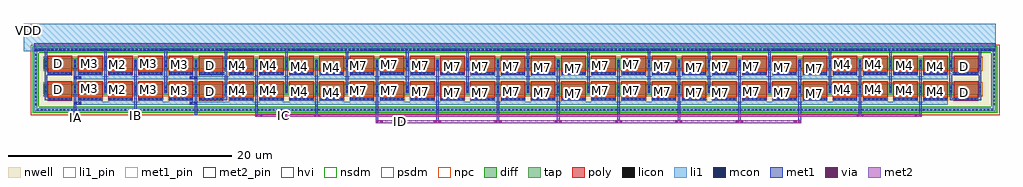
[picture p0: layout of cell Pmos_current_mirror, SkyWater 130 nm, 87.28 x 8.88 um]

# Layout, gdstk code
from math import pi, radians
import gdstk
lib = gdstk.Library(unit=1e-6, precision=1e-09)
def R(c, l, rs):  # rectangles x0, y0, x1, y1
    for r in rs: c.add(gdstk.rectangle(r[:2], r[2:], *l))
def A(c, l, x, y, w, h, nx, ny, dx, dy):  # array of equal rectangles
    R(c, l, [(x+i*dx, y+j*dy, x+i*dx+w, y+j*dy+h) for i in range(nx) for j in range(ny)])
def P(c, l, *ps):  # polygons
    for p in ps: c.add(gdstk.Polygon(p, *l))
nwell = (64, 20)
diff = (65, 20)
tap = (65, 44)
poly = (66, 20)
licon = (66, 44)
li1_pin = (67, 16)
li1 = (67, 20)
mcon = (67, 44)
met1_pin = (68, 16)
met1 = (68, 20)
via = (68, 44)
met2_pin = (69, 16)
met2 = (69, 20)
hvi = (75, 20)
nsdm = (93, 44)
psdm = (94, 20)
npc = (95, 20)

vias_gen_5 = lib.new_cell('vias_gen$5')
R(vias_gen_5, li1, [(0,0,86,0.23)])
A(vias_gen_5, mcon, 0.075, 0.03, 0.17, 0.17, 239, 1, 0.36, 0)
R(vias_gen_5, met1, [(0,0,86,0.23)])

vias_gen_7 = lib.new_cell('vias_gen$7')
R(vias_gen_7, met1, [(0,0,0.64,0.26)])
R(vias_gen_7, via, [(0.085,0.055,0.235,0.205), (0.405,0.055,0.555,0.205)])
R(vias_gen_7, met2, [(0,0,0.64,0.26)])

vias_gen_4 = lib.new_cell('vias_gen$4')
R(vias_gen_4, nwell, [(-0.18,-0.18,5.28,0.47)])
R(vias_gen_4, tap, [(0,0,5.1,0.29)])
A(vias_gen_4, licon, 0.255, 0.06, 0.17, 0.17, 14, 1, 0.34, 0)
R(vias_gen_4, li1, [(0,0,5.1,0.29)])
R(vias_gen_4, nsdm, [(-0.125,-0.125,5.225,0.415)])

vias_gen_2 = lib.new_cell('vias_gen$2')
R(vias_gen_2, nwell, [(-0.18,-0.18,86.18,0.47)])
R(vias_gen_2, tap, [(0,0,86,0.29)])
A(vias_gen_2, licon, 0.245, 0.06, 0.17, 0.17, 252, 1, 0.34, 0)
R(vias_gen_2, li1, [(0,0,86,0.29)])
R(vias_gen_2, nsdm, [(-0.125,-0.125,86.125,0.415)])

vias_gen = lib.new_cell('vias_gen')
R(vias_gen, li1, [(0,0,0.68,0.26)])
R(vias_gen, mcon, [(0.075,0.045,0.245,0.215), (0.435,0.045,0.605,0.215)])
R(vias_gen, met1, [(0,0,0.68,0.26)])

pfet = lib.new_cell('pfet')
R(pfet, nwell, [(-0.465,-0.88,84.265,1.54)])
R(pfet, diff, [(0,0,83.8,1)])
A(pfet, poly, 0.3, -0.53, 2.2, 0.33, 31, 1, 2.7, 0)
A(pfet, poly, 0.3, -0.2, 2.2, 1.4, 31, 1, 2.7, 0)
A(pfet, licon, 0.415, -0.45, 0.17, 0.17, 6, 1, 0.36, 0)
A(pfet, licon, 3.115, -0.45, 0.17, 0.17, 6, 1, 0.36, 0)
A(pfet, licon, 5.815, -0.45, 0.17, 0.17, 6, 1, 0.36, 0)
A(pfet, licon, 8.515, -0.45, 0.17, 0.17, 6, 1, 0.36, 0)
A(pfet, licon, 11.215, -0.45, 0.17, 0.17, 6, 1, 0.36, 0)
A(pfet, licon, 13.915, -0.45, 0.17, 0.17, 6, 1, 0.36, 0)
A(pfet, licon, 16.615, -0.45, 0.17, 0.17, 6, 1, 0.36, 0)
A(pfet, licon, 19.315, -0.45, 0.17, 0.17, 6, 1, 0.36, 0)
A(pfet, licon, 22.015, -0.45, 0.17, 0.17, 6, 1, 0.36, 0)
A(pfet, licon, 24.715, -0.45, 0.17, 0.17, 6, 1, 0.36, 0)
A(pfet, licon, 27.415, -0.45, 0.17, 0.17, 6, 1, 0.36, 0)
A(pfet, licon, 30.115, -0.45, 0.17, 0.17, 6, 1, 0.36, 0)
A(pfet, licon, 32.815, -0.45, 0.17, 0.17, 6, 1, 0.36, 0)
A(pfet, licon, 35.515, -0.45, 0.17, 0.17, 6, 1, 0.36, 0)
A(pfet, licon, 38.215, -0.45, 0.17, 0.17, 6, 1, 0.36, 0)
A(pfet, licon, 40.915, -0.45, 0.17, 0.17, 6, 1, 0.36, 0)
A(pfet, licon, 43.615, -0.45, 0.17, 0.17, 6, 1, 0.36, 0)
A(pfet, licon, 46.315, -0.45, 0.17, 0.17, 6, 1, 0.36, 0)
A(pfet, licon, 49.015, -0.45, 0.17, 0.17, 6, 1, 0.36, 0)
A(pfet, licon, 51.715, -0.45, 0.17, 0.17, 6, 1, 0.36, 0)
A(pfet, licon, 54.415, -0.45, 0.17, 0.17, 6, 1, 0.36, 0)
A(pfet, licon, 57.115, -0.45, 0.17, 0.17, 6, 1, 0.36, 0)
A(pfet, licon, 59.815, -0.45, 0.17, 0.17, 6, 1, 0.36, 0)
A(pfet, licon, 62.515, -0.45, 0.17, 0.17, 6, 1, 0.36, 0)
A(pfet, licon, 65.215, -0.45, 0.17, 0.17, 6, 1, 0.36, 0)
A(pfet, licon, 67.915, -0.45, 0.17, 0.17, 6, 1, 0.36, 0)
A(pfet, licon, 70.615, -0.45, 0.17, 0.17, 6, 1, 0.36, 0)
A(pfet, licon, 73.315, -0.45, 0.17, 0.17, 6, 1, 0.36, 0)
A(pfet, licon, 76.015, -0.45, 0.17, 0.17, 6, 1, 0.36, 0)
A(pfet, licon, 78.715, -0.45, 0.17, 0.17, 6, 1, 0.36, 0)
A(pfet, licon, 81.415, -0.45, 0.17, 0.17, 6, 1, 0.36, 0)
A(pfet, licon, 2.665, 0.235, 0.17, 0.17, 30, 2, 2.7, 0.36)
R(pfet, licon, [(0.065,0.235,0.235,0.405), (83.565,0.235,83.735,0.405), (0.065,0.595,0.235,0.765), (83.565,0.595,83.735,0.765)])
A(pfet, li1, 0.335, -0.45, 2.13, 0.17, 31, 1, 2.7, 0)
A(pfet, li1, 2.665, 0.155, 0.17, 0.69, 30, 1, 2.7, 0)
R(pfet, li1, [(0.065,0.155,0.235,0.845), (83.565,0.155,83.735,0.845)])
A(pfet, mcon, 0.415, -0.45, 0.17, 0.17, 6, 1, 0.36, 0)
A(pfet, mcon, 3.115, -0.45, 0.17, 0.17, 6, 1, 0.36, 0)
A(pfet, mcon, 5.815, -0.45, 0.17, 0.17, 6, 1, 0.36, 0)
A(pfet, mcon, 8.515, -0.45, 0.17, 0.17, 6, 1, 0.36, 0)
A(pfet, mcon, 11.215, -0.45, 0.17, 0.17, 6, 1, 0.36, 0)
A(pfet, mcon, 13.915, -0.45, 0.17, 0.17, 6, 1, 0.36, 0)
A(pfet, mcon, 16.615, -0.45, 0.17, 0.17, 6, 1, 0.36, 0)
A(pfet, mcon, 19.315, -0.45, 0.17, 0.17, 6, 1, 0.36, 0)
A(pfet, mcon, 22.015, -0.45, 0.17, 0.17, 6, 1, 0.36, 0)
A(pfet, mcon, 24.715, -0.45, 0.17, 0.17, 6, 1, 0.36, 0)
A(pfet, mcon, 27.415, -0.45, 0.17, 0.17, 6, 1, 0.36, 0)
A(pfet, mcon, 30.115, -0.45, 0.17, 0.17, 6, 1, 0.36, 0)
A(pfet, mcon, 32.815, -0.45, 0.17, 0.17, 6, 1, 0.36, 0)
A(pfet, mcon, 35.515, -0.45, 0.17, 0.17, 6, 1, 0.36, 0)
A(pfet, mcon, 38.215, -0.45, 0.17, 0.17, 6, 1, 0.36, 0)
A(pfet, mcon, 40.915, -0.45, 0.17, 0.17, 6, 1, 0.36, 0)
A(pfet, mcon, 43.615, -0.45, 0.17, 0.17, 6, 1, 0.36, 0)
A(pfet, mcon, 46.315, -0.45, 0.17, 0.17, 6, 1, 0.36, 0)
A(pfet, mcon, 49.015, -0.45, 0.17, 0.17, 6, 1, 0.36, 0)
A(pfet, mcon, 51.715, -0.45, 0.17, 0.17, 6, 1, 0.36, 0)
A(pfet, mcon, 54.415, -0.45, 0.17, 0.17, 6, 1, 0.36, 0)
A(pfet, mcon, 57.115, -0.45, 0.17, 0.17, 6, 1, 0.36, 0)
A(pfet, mcon, 59.815, -0.45, 0.17, 0.17, 6, 1, 0.36, 0)
A(pfet, mcon, 62.515, -0.45, 0.17, 0.17, 6, 1, 0.36, 0)
A(pfet, mcon, 65.215, -0.45, 0.17, 0.17, 6, 1, 0.36, 0)
A(pfet, mcon, 67.915, -0.45, 0.17, 0.17, 6, 1, 0.36, 0)
A(pfet, mcon, 70.615, -0.45, 0.17, 0.17, 6, 1, 0.36, 0)
A(pfet, mcon, 73.315, -0.45, 0.17, 0.17, 6, 1, 0.36, 0)
A(pfet, mcon, 76.015, -0.45, 0.17, 0.17, 6, 1, 0.36, 0)
A(pfet, mcon, 78.715, -0.45, 0.17, 0.17, 6, 1, 0.36, 0)
A(pfet, mcon, 81.415, -0.45, 0.17, 0.17, 6, 1, 0.36, 0)
A(pfet, mcon, 2.665, 0.235, 0.17, 0.17, 30, 2, 2.7, 0.36)
R(pfet, mcon, [(0.065,0.235,0.235,0.405), (83.565,0.235,83.735,0.405), (0.065,0.595,0.235,0.765), (83.565,0.595,83.735,0.765)])
A(pfet, met1, 0.355, -0.48, 2.09, 0.23, 31, 1, 2.7, 0)
A(pfet, met1, 2.635, 0.175, 0.23, 0.65, 30, 1, 2.7, 0)
R(pfet, met1, [(0.035,0.175,0.265,0.825), (83.535,0.175,83.765,0.825)])
R(pfet, hvi, [(-0.465,-0.88,84.265,1.54)])
R(pfet, psdm, [(-0.125,-0.125,83.925,1.125)])
A(pfet, npc, 0.29, -0.54, 2.22, 0.35, 31, 1, 2.7, 0)

pmos_current_mirror = lib.new_cell('Pmos_current_mirror')
R(pmos_current_mirror, nwell, [(-2.09,-4.095,84.54,2.22), (-1.97,-3.94,84.39,2.1)])
R(pmos_current_mirror, li1_pin, [(-2.595,3.365,-1.895,3.645)])
A(pmos_current_mirror, li1, 15.665, -3.07, 2.13, 0.52, 3, 2, 5.4, 2.28)
A(pmos_current_mirror, li1, 29.165, -3.07, 2.13, 0.52, 3, 2, 5.4, 2.28)
A(pmos_current_mirror, li1, 42.665, -3.07, 2.13, 0.52, 3, 2, 5.4, 2.28)
A(pmos_current_mirror, li1, 56.165, -3.07, 2.13, 0.52, 3, 2, 5.4, 2.28)
R(pmos_current_mirror, li1, [(2.445,-3.155,79.895,-2.895), (69.665,-3.07,71.795,-2.55), (75.065,-3.07,77.195,-2.55), (18.365,-3.055,20.495,-2.55), (23.765,-3.055,25.895,-2.55), (31.865,-3.055,33.995,-2.55), (37.265,-3.055,39.395,-2.55), (45.365,-3.055,47.495,-2.55), (50.765,-3.055,52.895,-2.55), (58.865,-3.055,60.995,-2.55), (64.265,-3.055,66.395,-2.55), (72.365,-3.055,74.495,-2.55), (77.765,-3.055,79.895,-2.55), (4.865,-3.05,6.995,-2.55), (10.265,-3.05,12.395,-2.55), (2.165,-2.99,4.295,-2.55), (7.565,-2.99,9.695,-2.55), (2.445,-0.875,79.895,-0.615), (69.665,-0.79,71.795,-0.27), (75.065,-0.79,77.195,-0.27), (18.365,-0.775,20.495,-0.27), (23.765,-0.775,25.895,-0.27), (31.865,-0.775,33.995,-0.27), (37.265,-0.775,39.395,-0.27), (45.365,-0.775,47.495,-0.27), (50.765,-0.775,52.895,-0.27), (58.865,-0.775,60.995,-0.27), (64.265,-0.775,66.395,-0.27), (72.365,-0.775,74.495,-0.27), (77.765,-0.775,79.895,-0.27), (4.865,-0.77,6.995,-0.27), (10.265,-0.77,12.395,-0.27), (2.165,-0.71,4.295,-0.27), (7.565,-0.71,9.695,-0.27), (-2.74,1.62,84.21,4.065)])
R(pmos_current_mirror, met1_pin, [(1.795,-4.37,1.97,-4.28), (7.2,-4.185,7.375,-4.095)])
A(pmos_current_mirror, met1, 4.465, 0.835, 0.23, 1.185, 7, 1, 10.8, 0)
A(pmos_current_mirror, met1, 9.865, 0.835, 0.23, 1.435, 7, 1, 10.8, 0)
R(pmos_current_mirror, met1, [(28.765,-4.76,28.995,0.835), (55.765,-4.68,55.995,0.835), (61.165,-4.67,61.395,0.835), (44.965,-4.665,45.195,0.835), (34.165,-4.655,34.395,0.835), (50.365,-4.655,50.595,0.835), (39.565,-4.65,39.795,0.84), (66.565,-4.625,66.795,0.835), (1.765,-4.555,1.995,-2.095), (17.965,-4.22,18.195,0.835), (12.565,-4.085,12.795,-2.095), (71.965,-4.08,72.195,0.835), (23.365,-4.075,23.595,0.835), (-0.835,-2.75,-0.605,-2.095), (-0.835,-2.75,-0.515,-2.52), (15.065,-2.75,15.495,-2.52), (15.265,-2.75,15.495,-2.095), (80.095,-2.75,80.485,-2.52), (82.465,-2.75,82.895,-2.52), (82.665,-2.75,82.895,-2.095), (80.095,-2.67,80.265,-2.035), (12.565,-1.805,12.795,0.185), (7.165,-1.48,7.395,0.185), (1.765,-1.465,1.995,0.185), (-0.835,-1.445,-0.605,-0.01), (4.465,-1.445,4.695,0.225), (9.865,-1.445,10.095,0.185), (15.265,-1.445,15.495,-0.26), (20.665,-1.445,20.895,0.53), (26.065,-1.445,26.295,-0.26), (31.465,-1.445,31.695,-0.01), (36.865,-1.445,37.095,0.96), (42.265,-1.445,42.495,-0.01), (47.665,-1.445,47.895,1.415), (53.065,-1.445,53.295,0.415), (58.465,-1.445,58.695,0.38), (63.865,-1.445,64.095,1.655), (69.265,-1.445,69.495,1.01), (74.665,-1.445,74.895,0.665), (80.065,-1.445,80.295,0.415), (82.665,-1.445,82.895,-0.01), (-0.835,-0.47,-0.605,0.185), (-0.835,-0.47,-0.515,-0.24), (15.065,-0.47,15.495,-0.24), (15.265,-0.47,15.495,0.185), (80.085,-0.47,80.485,-0.24), (82.465,-0.47,82.895,-0.24), (82.665,-0.47,82.895,0.185), (26.065,-0.26,26.295,0.365), (31.465,-0.01,31.695,0.47), (42.265,-0.01,42.495,0.59), (-0.835,0.835,-0.605,2.27), (80.065,0.835,80.295,2.27), (82.665,0.835,82.895,2.27), (-1.79,1.615,84.21,2.355)])
P(pmos_current_mirror, met1, [(77.365,-4.105),(77.365,0.835),(77.595,0.835),(77.595,-4.07),(77.595,-4.105)],
  [(7.165,-4.345),(7.165,-2.095),(7.395,-2.095),(7.395,-4.345),(7.28,-4.345)])
R(pmos_current_mirror, met2_pin, [(30.885,-4.74,31.17,-4.635), (20.43,-4.14,20.715,-4.035)])
R(pmos_current_mirror, met2, [(29.405,-4.805,66.69,-4.55), (18.605,-4.22,77.595,-3.96)])
R(pmos_current_mirror, hvi, [(-2.09,-4.095,84.54,2.22), (-1.97,-3.945,84.39,2.1)])
pmos_current_mirror.add(gdstk.Reference(vias_gen_5, (-1.79,1.62)))
pmos_current_mirror.add(gdstk.Reference(vias_gen_7, (60.975,-4.81)))
pmos_current_mirror.add(gdstk.Reference(vias_gen_7, (55.55,-4.81)))
pmos_current_mirror.add(gdstk.Reference(vias_gen_7, (44.755,-4.81)))
pmos_current_mirror.add(gdstk.Reference(vias_gen_7, (50.165,-4.81)))
pmos_current_mirror.add(gdstk.Reference(vias_gen_7, (39.37,-4.81)))
pmos_current_mirror.add(gdstk.Reference(vias_gen_7, (33.965,-4.81)))
pmos_current_mirror.add(gdstk.Reference(vias_gen_7, (66.155,-4.81)))
pmos_current_mirror.add(gdstk.Reference(vias_gen_7, (28.765,-4.81)))
pmos_current_mirror.add(gdstk.Reference(vias_gen_7, (23.185,-4.22)))
pmos_current_mirror.add(gdstk.Reference(vias_gen_7, (71.77,-4.22)))
pmos_current_mirror.add(gdstk.Reference(vias_gen_7, (76.955,-4.22)))
pmos_current_mirror.add(gdstk.Reference(vias_gen_7, (17.965,-4.22)))
pmos_current_mirror.add(gdstk.Reference(vias_gen_4, (83.92,-3.47), rotation=pi/2, x_reflection=True))
pmos_current_mirror.add(gdstk.Reference(vias_gen_4, (-1.79,-3.47), rotation=pi/2, x_reflection=True))
pmos_current_mirror.add(gdstk.Reference(vias_gen_2, (-1.79,-3.76)))
pmos_current_mirror.add(gdstk.Reference(vias_gen_2, (-1.79,1.63)))
pmos_current_mirror.add(gdstk.Reference(vias_gen, (1.765,-3.155)))
pmos_current_mirror.add(gdstk.Reference(vias_gen, (12.795,-3.155), rotation=pi, x_reflection=True))
pmos_current_mirror.add(gdstk.Reference(pfet, (-0.87,-2.27)))
pmos_current_mirror.add(gdstk.Reference(vias_gen, (1.765,-0.875)))
pmos_current_mirror.add(gdstk.Reference(vias_gen, (12.795,-0.875), rotation=pi, x_reflection=True))
pmos_current_mirror.add(gdstk.Reference(pfet, (-0.87,0.01)))
pmos_current_mirror.add(gdstk.Label('D', (0.37,-1.775), layer=68, texttype=25))
pmos_current_mirror.add(gdstk.Label('M3', (3.16,-1.75), layer=68, texttype=25))
pmos_current_mirror.add(gdstk.Label('M2', (5.65,-1.815), layer=68, texttype=25))
pmos_current_mirror.add(gdstk.Label('M3', (8.44,-1.79), layer=68, texttype=25))
pmos_current_mirror.add(gdstk.Label('M3', (11.2,-1.89), layer=68, texttype=25))
pmos_current_mirror.add(gdstk.Label('D', (14.02,-1.98), layer=68, texttype=25))
pmos_current_mirror.add(gdstk.Label('M7', (27.21,-1.895), layer=68, texttype=25))
pmos_current_mirror.add(gdstk.Label('M7', (30,-1.87), layer=68, texttype=25))
pmos_current_mirror.add(gdstk.Label('M7', (32.76,-1.97), layer=68, texttype=25))
pmos_current_mirror.add(gdstk.Label('M7', (35.58,-2.06), layer=68, texttype=25))
pmos_current_mirror.add(gdstk.Label('M7', (38.09,-2.04), layer=68, texttype=25))
pmos_current_mirror.add(gdstk.Label('M7', (40.88,-2.015), layer=68, texttype=25))
pmos_current_mirror.add(gdstk.Label('M7', (43.64,-2.115), layer=68, texttype=25))
pmos_current_mirror.add(gdstk.Label('M7', (46.46,-2.205), layer=68, texttype=25))
pmos_current_mirror.add(gdstk.Label('M7', (48.875,-1.91), layer=68, texttype=25))
pmos_current_mirror.add(gdstk.Label('M7', (51.665,-1.885), layer=68, texttype=25))
pmos_current_mirror.add(gdstk.Label('M7', (54.425,-1.985), layer=68, texttype=25))
pmos_current_mirror.add(gdstk.Label('M7', (57.245,-2.075), layer=68, texttype=25))
pmos_current_mirror.add(gdstk.Label('M7', (59.61,-2.035), layer=68, texttype=25))
pmos_current_mirror.add(gdstk.Label('M7', (62.4,-2.01), layer=68, texttype=25))
pmos_current_mirror.add(gdstk.Label('M7', (65.16,-2.11), layer=68, texttype=25))
pmos_current_mirror.add(gdstk.Label('M7', (67.98,-2.2), layer=68, texttype=25))
pmos_current_mirror.add(gdstk.Label('M4', (24.79,-2.1), layer=68, texttype=25))
pmos_current_mirror.add(gdstk.Label('M4', (21.97,-2.01), layer=68, texttype=25))
pmos_current_mirror.add(gdstk.Label('M4', (19.21,-1.91), layer=68, texttype=25))
pmos_current_mirror.add(gdstk.Label('M4', (16.42,-1.935), layer=68, texttype=25))
pmos_current_mirror.add(gdstk.Label('M4', (78.83,-1.995), layer=68, texttype=25))
pmos_current_mirror.add(gdstk.Label('M4', (76.01,-1.905), layer=68, texttype=25))
pmos_current_mirror.add(gdstk.Label('M4', (70.46,-1.83), layer=68, texttype=25))
pmos_current_mirror.add(gdstk.Label('D', (81.39,-2.07), layer=68, texttype=25))
pmos_current_mirror.add(gdstk.Label('M4', (73.25,-1.805), layer=68, texttype=25))
pmos_current_mirror.add(gdstk.Label('D', (0.37,0.505), layer=68, texttype=25))
pmos_current_mirror.add(gdstk.Label('M3', (3.16,0.53), layer=68, texttype=25))
pmos_current_mirror.add(gdstk.Label('M2', (5.65,0.465), layer=68, texttype=25))
pmos_current_mirror.add(gdstk.Label('M3', (8.44,0.49), layer=68, texttype=25))
pmos_current_mirror.add(gdstk.Label('M3', (11.2,0.39), layer=68, texttype=25))
pmos_current_mirror.add(gdstk.Label('D', (14.02,0.3), layer=68, texttype=25))
pmos_current_mirror.add(gdstk.Label('M7', (27.21,0.385), layer=68, texttype=25))
pmos_current_mirror.add(gdstk.Label('M7', (30,0.41), layer=68, texttype=25))
pmos_current_mirror.add(gdstk.Label('M7', (32.76,0.31), layer=68, texttype=25))
pmos_current_mirror.add(gdstk.Label('M7', (35.58,0.22), layer=68, texttype=25))
pmos_current_mirror.add(gdstk.Label('M7', (38.09,0.24), layer=68, texttype=25))
pmos_current_mirror.add(gdstk.Label('M7', (40.88,0.265), layer=68, texttype=25))
pmos_current_mirror.add(gdstk.Label('M7', (43.64,0.165), layer=68, texttype=25))
pmos_current_mirror.add(gdstk.Label('M7', (46.46,0.075), layer=68, texttype=25))
pmos_current_mirror.add(gdstk.Label('M7', (48.875,0.37), layer=68, texttype=25))
pmos_current_mirror.add(gdstk.Label('M7', (51.665,0.395), layer=68, texttype=25))
pmos_current_mirror.add(gdstk.Label('M7', (54.425,0.295), layer=68, texttype=25))
pmos_current_mirror.add(gdstk.Label('M7', (57.245,0.205), layer=68, texttype=25))
pmos_current_mirror.add(gdstk.Label('M7', (59.61,0.245), layer=68, texttype=25))
pmos_current_mirror.add(gdstk.Label('M7', (62.4,0.27), layer=68, texttype=25))
pmos_current_mirror.add(gdstk.Label('M7', (65.16,0.17), layer=68, texttype=25))
pmos_current_mirror.add(gdstk.Label('M7', (67.98,0.08), layer=68, texttype=25))
pmos_current_mirror.add(gdstk.Label('M4', (24.79,0.18), layer=68, texttype=25))
pmos_current_mirror.add(gdstk.Label('M4', (21.97,0.27), layer=68, texttype=25))
pmos_current_mirror.add(gdstk.Label('M4', (19.21,0.37), layer=68, texttype=25))
pmos_current_mirror.add(gdstk.Label('M4', (16.42,0.345), layer=68, texttype=25))
pmos_current_mirror.add(gdstk.Label('M4', (78.83,0.285), layer=68, texttype=25))
pmos_current_mirror.add(gdstk.Label('M4', (76.01,0.375), layer=68, texttype=25))
pmos_current_mirror.add(gdstk.Label('M4', (70.46,0.45), layer=68, texttype=25))
pmos_current_mirror.add(gdstk.Label('D', (81.39,0.21), layer=68, texttype=25))
pmos_current_mirror.add(gdstk.Label('M4', (73.25,0.475), layer=68, texttype=25))
pmos_current_mirror.add(gdstk.Label('IA', (1.875,-4.32), layer=68, texttype=16))
pmos_current_mirror.add(gdstk.Label('IB', (7.28,-4.135), layer=68, texttype=16))
pmos_current_mirror.add(gdstk.Label('VDD', (-2.285,3.51), layer=67, texttype=16))
pmos_current_mirror.add(gdstk.Label('IC', (20.555,-4.095), layer=69, texttype=16))
pmos_current_mirror.add(gdstk.Label('ID', (31.01,-4.695), layer=69, texttype=16))

lib.write_gds('Pmos_current_mirror.gds')
